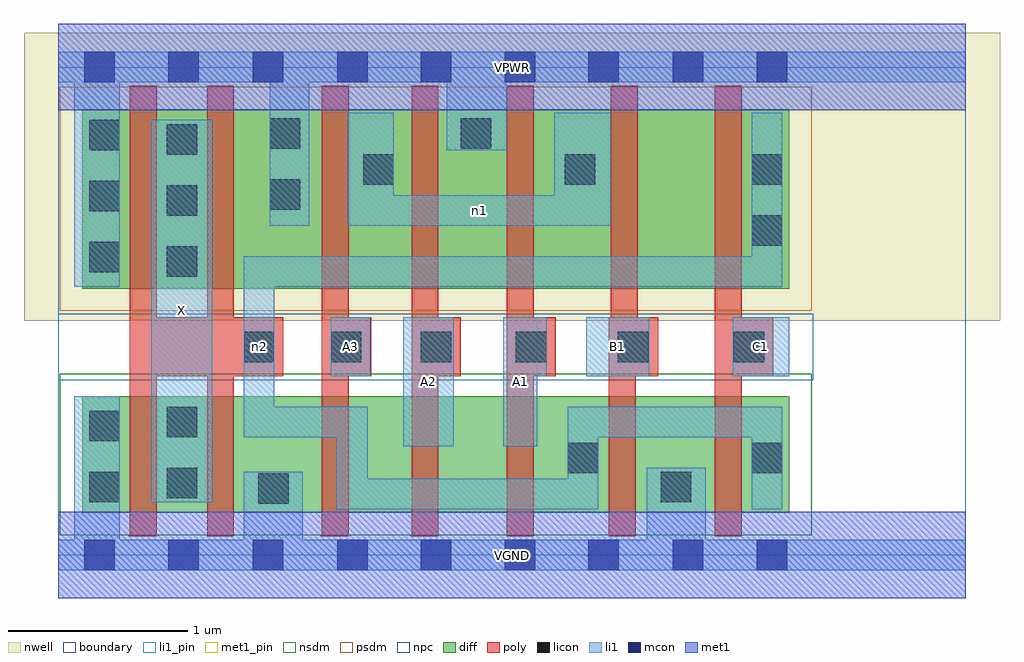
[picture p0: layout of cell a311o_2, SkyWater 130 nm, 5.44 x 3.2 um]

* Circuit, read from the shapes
.subckt a311o_2 A1 A2 A3 B1 C1 VGND VPWR X n1 n2
XM1 X n2 VGND VSUBS sky130_fd_pr__nfet_01v8 w=0.65 l=0.15 m=2
XM2 n3 A3 VGND VSUBS sky130_fd_pr__nfet_01v8 w=0.65 l=0.15
XM3 n4 A2 n3 VSUBS sky130_fd_pr__nfet_01v8 w=0.65 l=0.15
XM4 n2 A1 n4 VSUBS sky130_fd_pr__nfet_01v8 w=0.65 l=0.15
XM5 VGND B1 n2 VSUBS sky130_fd_pr__nfet_01v8 w=0.65 l=0.15
XM6 n2 C1 VGND VSUBS sky130_fd_pr__nfet_01v8 w=0.65 l=0.15
XM7 X n2 VPWR n5 sky130_fd_pr__pfet_01v8 w=1 l=0.15 m=2
XM8 n1 A3 VPWR n5 sky130_fd_pr__pfet_01v8 w=1 l=0.15
XM9 VPWR A2 n1 n5 sky130_fd_pr__pfet_01v8 w=1 l=0.15
XM10 n1 A1 VPWR n5 sky130_fd_pr__pfet_01v8 w=1 l=0.15
XM11 n6 B1 n1 n5 sky130_fd_pr__pfet_01v8 w=1 l=0.15
XM12 n2 C1 n6 n5 sky130_fd_pr__pfet_01v8 w=1 l=0.15
.ends

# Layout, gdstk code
import gdstk
lib = gdstk.Library(unit=1e-6, precision=1e-09)
def R(c, l, rs):  # rectangles x0, y0, x1, y1
    for r in rs: c.add(gdstk.rectangle(r[:2], r[2:], *l))
def A(c, l, x, y, w, h, nx, ny, dx, dy):  # array of equal rectangles
    R(c, l, [(x+i*dx, y+j*dy, x+i*dx+w, y+j*dy+h) for i in range(nx) for j in range(ny)])
nwell = (64, 20)
diff = (65, 20)
poly = (66, 20)
licon = (66, 44)
li1_pin = (67, 16)
li1 = (67, 20)
mcon = (67, 44)
met1_pin = (68, 16)
met1 = (68, 20)
nsdm = (93, 44)
psdm = (94, 20)
npc = (95, 20)
boundary = (235, 4)

a311o_2 = lib.new_cell('a311o_2')
R(a311o_2, nwell, [(-0.19,1.305,5.25,2.91), (0,1.305,5.06,2.91)])
R(a311o_2, diff, [(0.135,0.235,4.075,0.885), (0.135,1.485,4.075,2.485)])
R(a311o_2, poly, [(0.4,0.105,0.55,2.615), (0.83,0.105,0.98,2.615), (1.47,0.105,1.62,2.615), (1.97,0.105,2.12,2.615), (2.5,0.105,2.65,2.615), (3.07,0.105,3.22,1.325), (3.66,0.105,3.81,2.615), (0.4,0.995,1.255,1.325), (1.47,0.995,1.745,1.325), (1.97,0.995,2.245,1.325), (2.5,0.995,2.775,1.325), (3.07,0.995,3.345,1.325), (3.08,0.995,3.23,2.615), (3.66,0.995,3.985,1.325)])
A(a311o_2, licon, 0.605, 1.55, 0.17, 0.17, 1, 3, 0, 0.34)
A(a311o_2, licon, 0.175, 1.575, 0.17, 0.17, 1, 3, 0, 0.34)
R(a311o_2, licon, [(1.115,0.285,1.285,0.455), (0.175,0.295,0.345,0.465), (3.36,0.295,3.53,0.465), (0.605,0.315,0.775,0.485), (2.84,0.455,3.01,0.625), (3.865,0.455,4.035,0.625), (0.175,0.635,0.345,0.805), (0.605,0.655,0.775,0.825), (1.035,1.075,1.205,1.245), (1.52,1.075,1.69,1.245), (2.02,1.075,2.19,1.245), (2.55,1.075,2.72,1.245), (3.12,1.075,3.29,1.245), (3.765,1.075,3.935,1.245), (3.865,1.725,4.035,1.895), (1.18,1.925,1.35,2.095), (1.7,2.065,1.87,2.235), (2.825,2.065,2.995,2.235), (3.865,2.065,4.035,2.235), (1.18,2.265,1.35,2.435), (2.245,2.265,2.415,2.435)])
R(a311o_2, li1_pin, [(0.52,0.295,0.86,2.425), (1.925,0.605,2.205,1.325), (2.48,0.605,2.67,1.325), (1.52,0.995,1.74,1.325), (2.945,0.995,3.295,1.325), (3.76,0.995,4.075,1.325)])
R(a311o_2, li1, [(0,-0.085,5.06,0.085), (0.09,-0.085,0.345,0.885), (1.035,-0.085,1.365,0.465), (3.28,-0.085,3.61,0.485), (1.55,0.255,3.01,0.425), (1.55,0.255,1.725,0.825), (2.84,0.255,3.01,0.825), (3.865,0.255,4.035,0.825), (0.52,0.295,0.86,2.425), (1.925,0.605,2.205,1.325), (2.48,0.605,2.67,1.325), (1.035,0.655,1.205,1.665), (1.035,0.655,1.725,0.825), (2.84,0.655,4.035,0.825), (1.52,0.995,1.74,1.325), (2.48,0.995,2.725,1.325), (2.945,0.995,3.295,1.325), (3.76,0.995,4.075,1.325), (0.09,1.495,0.345,2.805), (1.035,1.495,4.035,1.665), (3.865,1.495,4.035,2.465), (1.18,1.835,1.4,2.805), (1.615,1.835,3.08,2.005), (1.615,1.835,1.87,2.465), (2.765,1.835,3.08,2.465), (2.165,2.255,2.5,2.805), (0,2.635,5.06,2.805)])
A(a311o_2, mcon, 0.145, -0.085, 0.17, 0.17, 4, 2, 0.47, 2.72)
A(a311o_2, mcon, 2.955, -0.085, 0.17, 0.17, 3, 2, 0.47, 2.72)
R(a311o_2, mcon, [(2.02,-0.085,2.19,0.085), (2.49,-0.085,2.66,0.085), (2.02,2.635,2.19,2.805), (2.49,2.635,2.66,2.805)])
R(a311o_2, met1_pin, [(0,-0.24,5.06,0.24), (0,2.48,5.06,2.96)])
R(a311o_2, met1, [(0,-0.24,5.06,0.24), (0,2.48,5.06,2.96)])
R(a311o_2, nsdm, [(0.01,0.11,4.2,1.01)])
R(a311o_2, psdm, [(0.01,1.36,4.2,2.61)])
R(a311o_2, npc, [(0,0.975,4.21,1.345)])
R(a311o_2, boundary, [(0,0,5.06,2.72)])
a311o_2.add(gdstk.Label('A1', (2.575,0.965), layer=67, texttype=5))
a311o_2.add(gdstk.Label('A2', (2.065,0.965), layer=67, texttype=5))
a311o_2.add(gdstk.Label('A3', (1.63,1.16), layer=67, texttype=5))
a311o_2.add(gdstk.Label('B1', (3.12,1.16), layer=67, texttype=5))
a311o_2.add(gdstk.Label('C1', (3.917,1.16), layer=67, texttype=5))
a311o_2.add(gdstk.Label('X', (0.69,1.36), layer=67, texttype=5))
a311o_2.add(gdstk.Label('n1', (2.347,1.92), layer=67, texttype=5))
a311o_2.add(gdstk.Label('n2', (1.12,1.16), layer=67, texttype=5))
a311o_2.add(gdstk.Label('VPWR', (2.53,2.72), layer=68, texttype=5))
a311o_2.add(gdstk.Label('VGND', (2.53,0), layer=68, texttype=5))
a311o_2.add(gdstk.Label('A1', (2.575,0.965), layer=67, texttype=16))
a311o_2.add(gdstk.Label('A2', (2.065,0.965), layer=67, texttype=16))
a311o_2.add(gdstk.Label('A3', (1.63,1.16), layer=67, texttype=16))
a311o_2.add(gdstk.Label('B1', (3.12,1.16), layer=67, texttype=16))
a311o_2.add(gdstk.Label('C1', (3.917,1.16), layer=67, texttype=16))
a311o_2.add(gdstk.Label('X', (0.69,1.36), layer=67, texttype=16))
a311o_2.add(gdstk.Label('VPWR', (2.53,2.72), layer=68, texttype=16))
a311o_2.add(gdstk.Label('VGND', (2.53,0), layer=68, texttype=16))

lib.write_gds('a311o_2.gds')
